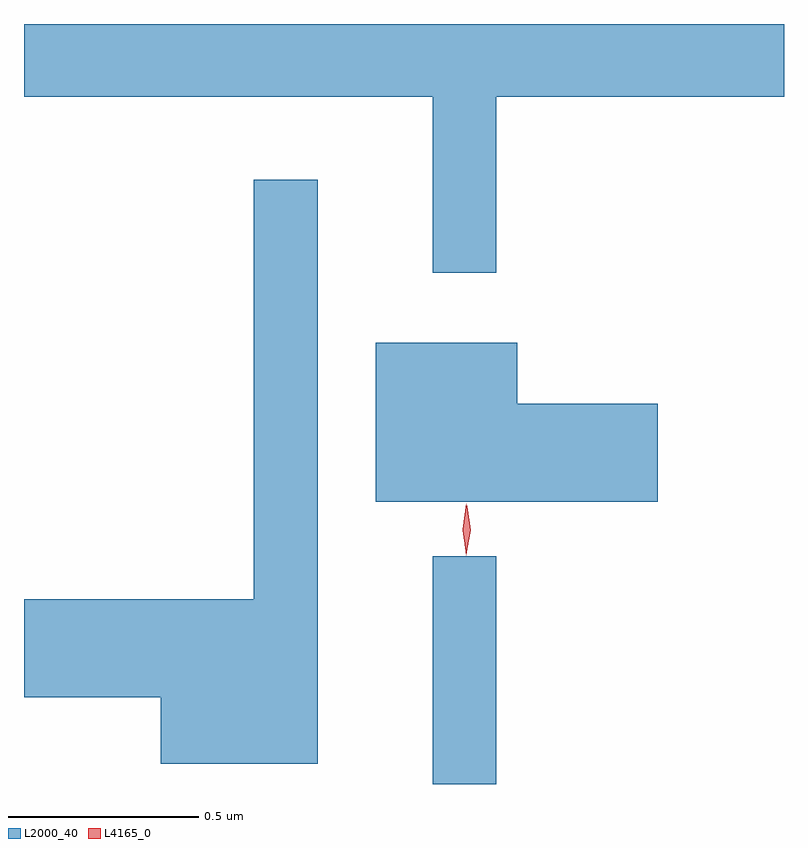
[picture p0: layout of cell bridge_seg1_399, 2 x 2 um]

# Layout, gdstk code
import gdstk
lib = gdstk.Library(unit=1e-6, precision=1e-09)
def R(c, l, rs):  # rectangles x0, y0, x1, y1
    for r in rs: c.add(gdstk.rectangle(r[:2], r[2:], *l))
def P(c, l, *ps):  # polygons
    for p in ps: c.add(gdstk.Polygon(p, *l))
L2000_40 = (2000, 40)
L4165_0 = (4165, 0)

bridge_seg1_399 = lib.new_cell('bridge_seg1_399')
R(bridge_seg1_399, L2000_40, [(442.451,968.808,442.619,969.408)])
P(bridge_seg1_399, L2000_40, [(442.619,970.616),(443.376,970.616),(443.376,970.808),(441.376,970.808),(441.376,970.616),(442.451,970.616),(442.451,970.153),(442.619,970.153)],
  [(442.149,970.398),(441.981,970.398),(441.981,969.294),(441.376,969.294),(441.376,969.036),(441.736,969.036),(441.736,968.861),(442.149,968.861)],
  [(443.044,969.809),(442.674,969.809),(442.674,969.969),(442.301,969.969),(442.301,969.551),(443.044,969.551)])
P(bridge_seg1_399, L4165_0, [(442.54,969.41),(442.54,969.41),(442.53,969.478),(442.54,969.546),(442.54,969.546),(442.54,969.546),(442.55,969.478),(442.54,969.41)],
  [(442.54,969.413),(442.54,969.413),(442.531,969.476),(442.541,969.539),(442.542,969.54),(442.542,969.539),(442.551,969.476),(442.54,969.413)])

lib.write_gds('bridge_seg1_399.gds')
